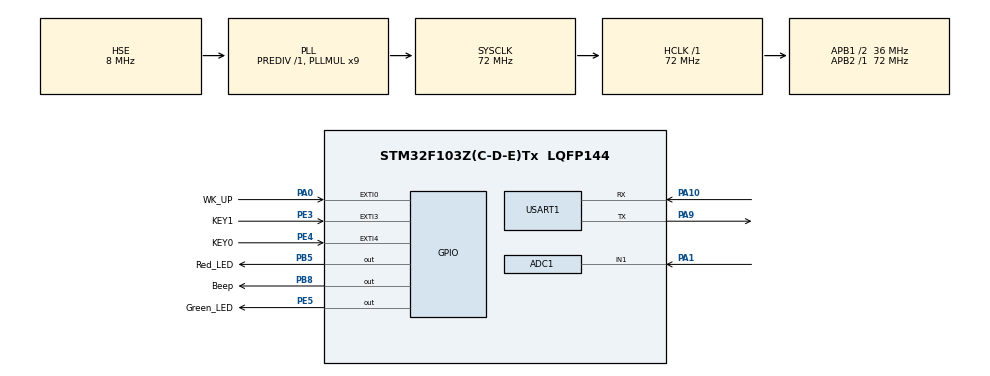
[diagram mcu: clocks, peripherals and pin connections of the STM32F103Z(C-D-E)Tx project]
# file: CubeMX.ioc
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ADC1.Channel-0\#ChannelRegularConversion=ADC_CHANNEL_TEMPSENSOR
ADC1.NbrOfConversionFlag=1
ADC1.Rank-0\#ChannelRegularConversion=1
ADC1.SamplingTime-0\#ChannelRegularConversion=ADC_SAMPLETIME_239CYCLES_5
ADC1.master=1
Dma.Request0=USART1_TX
Dma.USART1_TX.0.Direction=DMA_MEMORY_TO_PERIPH
Dma.USART1_TX.0.Instance=DMA1_Channel4
Dma.USART1_TX.0.MemDataAlignment=DMA_MDATAALIGN_BYTE
Dma.USART1_TX.0.MemInc=DMA_MINC_ENABLE
Dma.USART1_TX.0.Mode=DMA_NORMAL
Dma.USART1_TX.0.PeriphDataAlignment=DMA_PDATAALIGN_BYTE
Dma.USART1_TX.0.PeriphInc=DMA_PINC_DISABLE
Dma.USART1_TX.0.Priority=DMA_PRIORITY_MEDIUM
IWDG.Prescaler=IWDG_PRESCALER_64
IWDG.Reload=625
Mcu.Family=STM32F1
Mcu.Name=STM32F103Z(C-D-E)Tx
Mcu.Package=LQFP144
NVIC.DMA1_Channel4_IRQn=true\:0\:0\:false\:false\:true\:false\:true\:true
NVIC.EXTI0_IRQn=true\:2\:2\:true\:false\:true\:true\:true\:true
NVIC.PriorityGroup=NVIC_PRIORITYGROUP_2
NVIC.USART1_IRQn=true\:2\:2\:true\:false\:true\:true\:true\:true
OSC_IN.Mode=HSE-External-Oscillator
OSC_IN.Signal=RCC_OSC_IN
OSC_OUT.Mode=HSE-External-Oscillator
OSC_OUT.Signal=RCC_OSC_OUT
PA0-WKUP.GPIO_Label=WK_UP
PA0-WKUP.GPIO_PuPd=GPIO_PULLDOWN
PA0-WKUP.Signal=GPXTI0
PA1.Signal=ADCx_IN1
PA10.Mode=Asynchronous
PA10.Signal=USART1_RX
PA13.Mode=Serial_Wire
PA13.Signal=SYS_JTMS-SWDIO
PA14.Mode=Serial_Wire
PA14.Signal=SYS_JTCK-SWCLK
PA9.Mode=Asynchronous
PA9.Signal=USART1_TX
PB5.GPIO_Label=Red_LED
PB5.GPIO_PuPd=GPIO_PULLUP
PB5.GPIO_Speed=GPIO_SPEED_FREQ_HIGH
PB5.PinState=GPIO_PIN_SET
PB5.Signal=GPIO_Output
PB8.GPIO_Label=Beep
PB8.GPIO_PuPd=GPIO_PULLDOWN
PB8.GPIO_Speed=GPIO_SPEED_FREQ_HIGH
PB8.Signal=GPIO_Output
PC14-OSC32_IN.Mode=LSE-External-Oscillator
PC14-OSC32_IN.Signal=RCC_OSC32_IN
PC15-OSC32_OUT.Mode=LSE-External-Oscillator
PC15-OSC32_OUT.Signal=RCC_OSC32_OUT
PE3.GPIO_Label=KEY1
PE3.GPIO_ModeDefaultEXTI=GPIO_MODE_IT_FALLING
PE3.GPIO_PuPd=GPIO_PULLUP
PE3.Signal=GPXTI3
PE4.GPIO_Label=KEY0
PE4.GPIO_ModeDefaultEXTI=GPIO_MODE_IT_FALLING
PE4.GPIO_PuPd=GPIO_PULLUP
PE4.Signal=GPXTI4
PE5.GPIO_Label=Green_LED
PE5.GPIO_PuPd=GPIO_PULLUP
PE5.GPIO_Speed=GPIO_SPEED_FREQ_HIGH
PE5.PinState=GPIO_PIN_SET
PE5.Signal=GPIO_Output
ProjectManager.HeapSize=0x200
ProjectManager.StackSize=0x400
ProjectManager.TargetToolchain=MDK-ARM V5.32
RCC.AHBFreq_Value=72000000
RCC.APB1CLKDivider=RCC_HCLK_DIV2
RCC.APB1Freq_Value=36000000
RCC.APB1TimFreq_Value=72000000
RCC.APB2Freq_Value=72000000
RCC.APB2TimFreq_Value=72000000
RCC.HCLKFreq_Value=72000000
RCC.PLLMUL=RCC_PLL_MUL9
RCC.PLLSourceVirtual=RCC_PLLSOURCE_HSE
RCC.SYSCLKFreq_VALUE=72000000
RCC.SYSCLKSource=RCC_SYSCLKSOURCE_PLLCLK
RCC.USBFreq_Value=72000000
SH.ADCx_IN1.0=ADC1_IN1,IN1
TIM3.AutoReloadPreload=TIM_AUTORELOAD_PRELOAD_ENABLE
TIM3.Period=5000 - 1
TIM3.Prescaler=7200 - 1
TIM6.AutoReloadPreload=TIM_AUTORELOAD_PRELOAD_ENABLE
TIM6.Period=5000-1
TIM6.Prescaler=7200-1
USART1.VirtualMode=VM_ASYNC
VP_ADC1_TempSens_Input.Mode=IN-TempSens
VP_IWDG_VS_IWDG.Mode=IWDG_Activate
VP_TIM3_VS_ClockSourceINT.Mode=Internal
VP_TIM6_VS_ClockSourceINT.Mode=Enable_Timer
VP_WWDG_VS_WWDG.Mode=WWDG_Activate
WWDG.Counter=0x7F
WWDG.EWIMode=WWDG_EWI_ENABLE
WWDG.Prescaler=WWDG_PRESCALER_8
WWDG.Window=0x5F
board=custom

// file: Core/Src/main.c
/* USER CODE BEGIN Header */
/**
  ******************************************************************************
  * @file           : main.c
  * @brief          : Main program body
  ******************************************************************************
  * @attention
  *
  * Copyright (c) 2025 STMicroelectronics.
  * All rights reserved.
  *
  * This software is licensed under terms that can be found in the LICENSE file
  * in the root directory of this software component.
  * If no LICENSE file comes with this software, it is provided AS-IS.
  *
  ******************************************************************************
  */
/* USER CODE END Header */
#include "main.h"
#include "adc.h"
#include "dma.h"
#include "iwdg.h"
#include "tim.h"
#include "usart.h"
#include "wwdg.h"
#include "gpio.h"

/* USER CODE BEGIN Includes */
#include <stdio.h>
#include "../SYSTEM/sys/sys.h"
#include "../SYSTEM/delay/delay.h"
#include "../Lib/circle_buffer.h"
#include "../BSP/led.h"
#include "../BSP/key.h"
#include "../BSP/beep.h"
#include "../BSP/pwr.h"

/* USER CODE END Includes */

void SystemClock_Config(void);

/* USER CODE BEGIN 0 */
static uint8_t g_data_buf[100];
static circle_buf g_key_bufs;

const uint8_t TEXT_TO_SEND[] = {"STM32 DMA Usart Test"};
#define SEND_BUF_SIZE (sizeof(TEXT_TO_SEND) + 2) * 10
uint8_t g_sendbuf[SEND_BUF_SIZE];
extern DMA_HandleTypeDef hdma_usart1_tx;
uint8_t key = 0;
uint8_t t = 0;
uint16_t adcx;
float temp;

/* USER CODE END 0 */

int main(void)
{
  /* USER CODE BEGIN 1 */
//  uint8_t t = 0;
//uint8_t key = 0;
  /* USER CODE END 1 */

  /* MCU Configuration--------------------------------------------------------*/

  /* Reset of all peripherals, Initializes the Flash interface and the Systick. */
  HAL_Init();

  /* Configure the system clock */
  SystemClock_Config();

  /* Initialize all configured peripherals */
  MX_GPIO_Init();
  MX_DMA_Init();
  MX_USART1_UART_Init();
  MX_IWDG_Init();
  MX_WWDG_Init();
  MX_TIM6_Init();
  MX_TIM3_Init();
  MX_ADC1_Init();
  /* USER CODE BEGIN 2 */
  circle_buffer_init(&g_key_bufs, 100, g_data_buf);
  //Green_LED_ON();
  /* USER CODE END 2 */

  /* Infinite loop */
  /* USER CODE BEGIN WHILE */

  while (1)
  {
    // adcx = adc_get_result_average(ADC_CHANNEL_1, 10);
    // temp = (float)adcx * (3.3 / 4096);
    // adcx = temp;
    // temp -= adcx;
    // temp *= 1000;

    temp = adc_get_temperature();

//     if(t % 20 == 0)
//     {
// //      Red_LED_Toggle();
// 		HAL_UART_Transmit_DMA(&huart1, g_sendbuf, SEND_BUF_SIZE);
// 		Green_LED_ON();

//      while (1)
//      {
//        if(__HAL_DMA_GET_FLAG(&hdma_usart1_tx, DMA_FLAG_TC4))
//        {
//          __HAL_DMA_CLEAR_FLAG(&hdma_usart1_tx, DMA_FLAG_TC4);
//          HAL_UART_DMAStop(&huart1);
//			Green_LED_OFF();
//          break;
//        }
//      }
//    }
	Green_LED_OFF();
    delay_ms(10);
    t++;
    /* USER CODE END WHILE */

  }
}

void SystemClock_Config(void)
{
  RCC_OscInitTypeDef RCC_OscInitStruct = {0};
  RCC_ClkInitTypeDef RCC_ClkInitStruct = {0};
  RCC_PeriphCLKInitTypeDef PeriphClkInit = {0};

  /** Initializes the RCC Oscillators according to the specified parameters
  * in the RCC_OscInitTypeDef structure.
  */
  RCC_OscInitStruct.OscillatorType = RCC_OSCILLATORTYPE_LSI|RCC_OSCILLATORTYPE_HSE;
  RCC_OscInitStruct.HSEState = RCC_HSE_ON;
  RCC_OscInitStruct.HSEPredivValue = RCC_HSE_PREDIV_DIV1;
  RCC_OscInitStruct.HSIState = RCC_HSI_ON;
  RCC_OscInitStruct.LSIState = RCC_LSI_ON;
  RCC_OscInitStruct.PLL.PLLState = RCC_PLL_ON;
  RCC_OscInitStruct.PLL.PLLSource = RCC_PLLSOURCE_HSE;
  RCC_OscInitStruct.PLL.PLLMUL = RCC_PLL_MUL9;
  if (HAL_RCC_OscConfig(&RCC_OscInitStruct) != HAL_OK)
  {
    Error_Handler();
  }

  /** Initializes the CPU, AHB and APB buses clocks
  */
  RCC_ClkInitStruct.ClockType = RCC_CLOCKTYPE_HCLK|RCC_CLOCKTYPE_SYSCLK
                              |RCC_CLOCKTYPE_PCLK1|RCC_CLOCKTYPE_PCLK2;
  RCC_ClkInitStruct.SYSCLKSource = RCC_SYSCLKSOURCE_PLLCLK;
  RCC_ClkInitStruct.AHBCLKDivider = RCC_SYSCLK_DIV1;
  RCC_ClkInitStruct.APB1CLKDivider = RCC_HCLK_DIV2;
  RCC_ClkInitStruct.APB2CLKDivider = RCC_HCLK_DIV1;

  if (HAL_RCC_ClockConfig(&RCC_ClkInitStruct, FLASH_LATENCY_2) != HAL_OK)
  {
    Error_Handler();
  }
  PeriphClkInit.PeriphClockSelection = RCC_PERIPHCLK_ADC;
  PeriphClkInit.AdcClockSelection = RCC_ADCPCLK2_DIV2;
  if (HAL_RCCEx_PeriphCLKConfig(&PeriphClkInit) != HAL_OK)
  {
    Error_Handler();
  }
}

void Error_Handler(void)
{
  __disable_irq();
  while (1)
  {
  }
}
